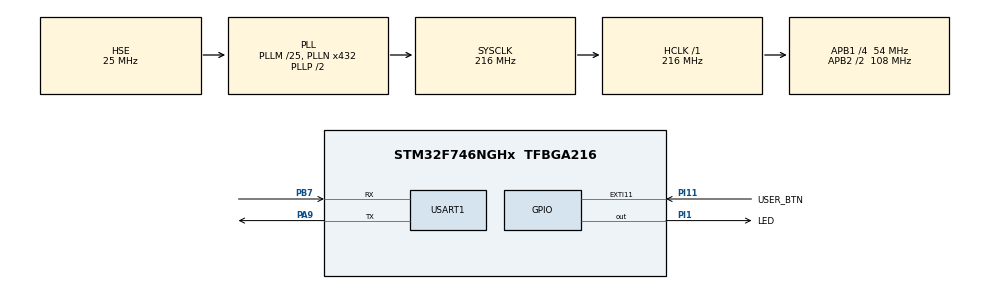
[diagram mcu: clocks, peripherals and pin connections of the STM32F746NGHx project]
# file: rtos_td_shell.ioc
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FREERTOS.Tasks01=defaultTask,0,128,StartDefaultTask,Default,NULL,Dynamic,NULL,NULL
Mcu.Family=STM32F7
Mcu.Name=STM32F746NGHx
Mcu.Package=TFBGA216
NVIC.PriorityGroup=NVIC_PRIORITYGROUP_4
NVIC.TIM6_DAC_IRQn=true\:15\:0\:false\:false\:true\:false\:false\:true\:true
NVIC.TimeBase=TIM6_DAC_IRQn
NVIC.TimeBaseIP=TIM6
NVIC.USART1_IRQn=true\:5\:0\:false\:false\:true\:true\:true\:true\:true
PA13.Mode=Serial_Wire
PA13.Signal=SYS_JTMS-SWDIO
PA14.Mode=Serial_Wire
PA14.Signal=SYS_JTCK-SWCLK
PA9.Mode=Asynchronous
PA9.Signal=USART1_TX
PB7.Mode=Asynchronous
PB7.Signal=USART1_RX
PH0/OSC_IN.Mode=HSE-External-Oscillator
PH0/OSC_IN.Signal=RCC_OSC_IN
PH1/OSC_OUT.Mode=HSE-External-Oscillator
PH1/OSC_OUT.Signal=RCC_OSC_OUT
PI1.GPIO_Label=LED
PI1.Signal=GPIO_Output
PI11.GPIO_Label=USER_BTN
PI11.Signal=GPXTI11
ProjectManager.HeapSize=0x200
ProjectManager.StackSize=0x400
ProjectManager.TargetToolchain=STM32CubeIDE
RCC.AHBFreq_Value=216000000
RCC.APB1CLKDivider=RCC_HCLK_DIV4
RCC.APB1Freq_Value=54000000
RCC.APB1TimFreq_Value=108000000
RCC.APB2CLKDivider=RCC_HCLK_DIV2
RCC.APB2Freq_Value=108000000
RCC.APB2TimFreq_Value=216000000
RCC.CortexFreq_Value=216000000
RCC.HCLKFreq_Value=216000000
RCC.HSE_VALUE=25000000
RCC.HSI_VALUE=16000000
RCC.LSE_VALUE=32768
RCC.PLLM=25
RCC.PLLN=432
RCC.PLLSourceVirtual=RCC_PLLSOURCE_HSE
RCC.SYSCLKFreq_VALUE=216000000
RCC.SYSCLKSource=RCC_SYSCLKSOURCE_PLLCLK
RCC.USBFreq_Value=216000000
RCC.VCOOutputFreq_Value=432000000
USART1.VirtualMode-Asynchronous=VM_ASYNC
VP_FREERTOS_VS_CMSIS_V1.Mode=CMSIS_V1
VP_SYS_VS_tim6.Mode=TIM6
board=STM32F746G-DISCO

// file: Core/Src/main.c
/* USER CODE BEGIN Header */
/**
 ******************************************************************************
 * @file           : main.c
 * @brief          : Main program body
 ******************************************************************************
 * @attention
 *
 * Copyright (c) 2022 STMicroelectronics.
 * All rights reserved.
 *
 * This software is licensed under terms that can be found in the LICENSE file
 * in the root directory of this software component.
 * If no LICENSE file comes with this software, it is provided AS-IS.
 *
 ******************************************************************************
 */
/* USER CODE END Header */
#include "main.h"
#include "cmsis_os.h"
#include "usart.h"
#include "gpio.h"

/* USER CODE BEGIN Includes */
#include <stdio.h>
#include <stdlib.h>
#include "shell.h"
/* USER CODE END Includes */

/* USER CODE BEGIN PD */
#define TASK_SHELL_STACK_DEPTH 512
#define TASK_SHELL_PRIORITY 1
/* USER CODE END PD */

/* USER CODE BEGIN PV */
	TaskHandle_t h_task_shell = NULL;

/* USER CODE END PV */

void SystemClock_Config(void);
void MX_FREERTOS_Init(void);

/* USER CODE BEGIN 0 */
int __io_putchar(int ch)
{
	HAL_UART_Transmit(&huart1, (uint8_t*)&ch, 1, HAL_MAX_DELAY);

	return ch;
}

void HAL_UART_RxCpltCallback(UART_HandleTypeDef *huart)
{
	if (huart->Instance == USART1)
	{
		shell_uart_receive_irq_cb();	// C'est la fonction qui donne le sémaphore!
	}
}

int fonction(int argc, char ** argv)
{
	printf("Je suis une fonction bidon\r\n");

	printf("argc = %d\r\n", argc);

	for (int i = 0 ; i < argc ; i++)
	{
		printf("arg %d = %s\r\n", i, argv[i]);
	}

	return 0;
}

int addition(int argc, char ** argv)
{
	if (argc == 3)
	{
		int a, b;
		a = atoi(argv[1]);
		b = atoi(argv[2]);
		printf("%d + %d = %d\r\n", a, b, a+b);

		return 0;
	}
	else
	{
		printf("Erreur, pas le bon nombre d'arguments\r\n");
		return -1;
	}
}

void task_shell(void * unused)
{
	shell_init();
	shell_add('f', fonction, "Une fonction inutile");
	shell_add('a', addition, "Effectue une somme");
	shell_run();	// boucle infinie
}
/* USER CODE END 0 */

int main(void)
{

  /* MCU Configuration--------------------------------------------------------*/

  /* Reset of all peripherals, Initializes the Flash interface and the Systick. */
  HAL_Init();

  /* Configure the system clock */
  SystemClock_Config();

  /* Initialize all configured peripherals */
  MX_GPIO_Init();
  MX_USART1_UART_Init();
  /* USER CODE BEGIN 2 */
	if (xTaskCreate(task_shell, "Shell", TASK_SHELL_STACK_DEPTH, NULL, TASK_SHELL_PRIORITY, &h_task_shell) != pdPASS)
	{
		printf("Error creating task shell\r\n");
		Error_Handler();
	}

	vTaskStartScheduler();
  /* USER CODE END 2 */

  /* Call init function for freertos objects (in freertos.c) */
  MX_FREERTOS_Init();

  /* Start scheduler */
  osKernelStart();

  /* We should never get here as control is now taken by the scheduler */
  /* Infinite loop */
	while (1)
	{

	}
}

void SystemClock_Config(void)
{
  RCC_OscInitTypeDef RCC_OscInitStruct = {0};
  RCC_ClkInitTypeDef RCC_ClkInitStruct = {0};

  /** Configure the main internal regulator output voltage
  */
  __HAL_RCC_PWR_CLK_ENABLE();
  __HAL_PWR_VOLTAGESCALING_CONFIG(PWR_REGULATOR_VOLTAGE_SCALE1);

  /** Initializes the RCC Oscillators according to the specified parameters
  * in the RCC_OscInitTypeDef structure.
  */
  RCC_OscInitStruct.OscillatorType = RCC_OSCILLATORTYPE_HSE;
  RCC_OscInitStruct.HSEState = RCC_HSE_ON;
  RCC_OscInitStruct.PLL.PLLState = RCC_PLL_ON;
  RCC_OscInitStruct.PLL.PLLSource = RCC_PLLSOURCE_HSE;
  RCC_OscInitStruct.PLL.PLLM = 25;
  RCC_OscInitStruct.PLL.PLLN = 432;
  RCC_OscInitStruct.PLL.PLLP = RCC_PLLP_DIV2;
  RCC_OscInitStruct.PLL.PLLQ = 2;
  if (HAL_RCC_OscConfig(&RCC_OscInitStruct) != HAL_OK)
  {
    Error_Handler();
  }

  /** Activate the Over-Drive mode
  */
  if (HAL_PWREx_EnableOverDrive() != HAL_OK)
  {
    Error_Handler();
  }

  /** Initializes the CPU, AHB and APB buses clocks
  */
  RCC_ClkInitStruct.ClockType = RCC_CLOCKTYPE_HCLK|RCC_CLOCKTYPE_SYSCLK
                              |RCC_CLOCKTYPE_PCLK1|RCC_CLOCKTYPE_PCLK2;
  RCC_ClkInitStruct.SYSCLKSource = RCC_SYSCLKSOURCE_PLLCLK;
  RCC_ClkInitStruct.AHBCLKDivider = RCC_SYSCLK_DIV1;
  RCC_ClkInitStruct.APB1CLKDivider = RCC_HCLK_DIV4;
  RCC_ClkInitStruct.APB2CLKDivider = RCC_HCLK_DIV2;

  if (HAL_RCC_ClockConfig(&RCC_ClkInitStruct, FLASH_LATENCY_7) != HAL_OK)
  {
    Error_Handler();
  }
}

void HAL_TIM_PeriodElapsedCallback(TIM_HandleTypeDef *htim)
{
  if (htim->Instance == TIM6) {
    HAL_IncTick();
  }
}

void Error_Handler(void)
{
	__disable_irq();
	while (1)
	{
	}
}

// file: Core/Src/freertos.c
/* USER CODE BEGIN Header */
/**
  ******************************************************************************
  * File Name          : freertos.c
  * Description        : Code for freertos applications
  ******************************************************************************
  * @attention
  *
  * Copyright (c) 2022 STMicroelectronics.
  * All rights reserved.
  *
  * This software is licensed under terms that can be found in the LICENSE file
  * in the root directory of this software component.
  * If no LICENSE file comes with this software, it is provided AS-IS.
  *
  ******************************************************************************
  */
/* USER CODE END Header */

#include "FreeRTOS.h"
#include "task.h"
#include "main.h"
#include "cmsis_os.h"

osThreadId defaultTaskHandle;

void StartDefaultTask(void const * argument);

void MX_FREERTOS_Init(void); /* (MISRA C 2004 rule 8.1) */

/* GetIdleTaskMemory prototype (linked to static allocation support) */
void vApplicationGetIdleTaskMemory( StaticTask_t **ppxIdleTaskTCBBuffer, StackType_t **ppxIdleTaskStackBuffer, uint32_t *pulIdleTaskStackSize );

/* USER CODE BEGIN GET_IDLE_TASK_MEMORY */
static StaticTask_t xIdleTaskTCBBuffer;
static StackType_t xIdleStack[configMINIMAL_STACK_SIZE];

void vApplicationGetIdleTaskMemory( StaticTask_t **ppxIdleTaskTCBBuffer, StackType_t **ppxIdleTaskStackBuffer, uint32_t *pulIdleTaskStackSize )
{
  *ppxIdleTaskTCBBuffer = &xIdleTaskTCBBuffer;
  *ppxIdleTaskStackBuffer = &xIdleStack[0];
  *pulIdleTaskStackSize = configMINIMAL_STACK_SIZE;
  /* place for user code */
}
/* USER CODE END GET_IDLE_TASK_MEMORY */

void MX_FREERTOS_Init(void) {

  /* Create the thread(s) */
  /* definition and creation of defaultTask */
  osThreadDef(defaultTask, StartDefaultTask, osPriorityNormal, 0, 128);
  defaultTaskHandle = osThreadCreate(osThread(defaultTask), NULL);

}

void StartDefaultTask(void const * argument)
{
  for(;;)
  {
    osDelay(1);
  }
}
